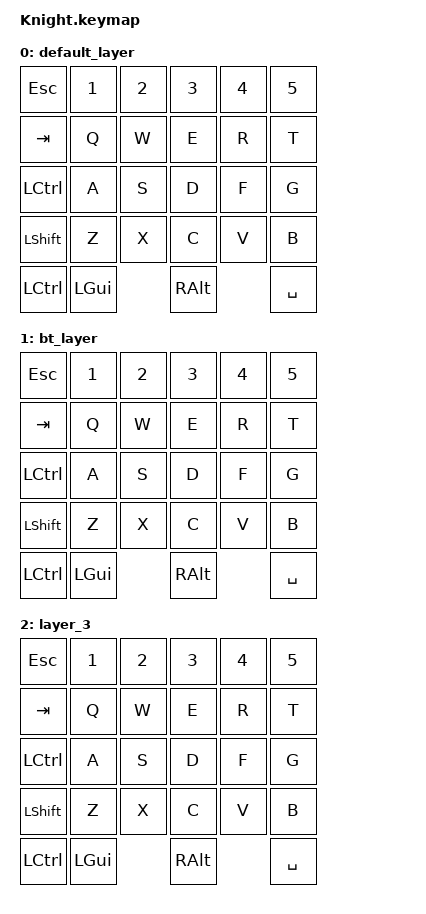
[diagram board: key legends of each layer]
#include <behaviors.dtsi>
#include <dt-bindings/zmk/keys.h>
#include <dt-bindings/zmk/bt.h>


/ {

  keymap {
        compatible = "zmk,keymap";

        default_layer {
            bindings = <
                &kp ESC    &kp N1 &kp N2 &kp N3    &kp N4 &kp N5 
                &kp TAB    &kp Q  &kp W  &kp E     &kp R  &kp T   
                &kp LCTRL  &kp A  &kp S  &kp D     &kp F  &kp G  
                &kp LSHFT  &kp Z  &kp X  &kp C     &kp V  &kp B 
                &kp LCTRL  &kp LGUI      &kp RALT         &kp SPACE  
            >;
        };

        bt_layer {
            bindings = <
                &kp ESC    &kp N1 &kp N2 &kp N3    &kp N4 &kp N5 
                &kp TAB    &kp Q  &kp W  &kp E     &kp R  &kp T   
                &kp LCTRL  &kp A  &kp S  &kp D     &kp F  &kp G  
                &kp LSHFT  &kp Z  &kp X  &kp C     &kp V  &kp B 
                &kp LCTRL  &kp LGUI      &kp RALT         &kp SPACE  
            >;
        };

        layer_3 {
            bindings = <
                &kp ESC    &kp N1 &kp N2 &kp N3    &kp N4 &kp N5 
                &kp TAB    &kp Q  &kp W  &kp E     &kp R  &kp T   
                &kp LCTRL  &kp A  &kp S  &kp D     &kp F  &kp G  
                &kp LSHFT  &kp Z  &kp X  &kp C     &kp V  &kp B 
                &kp LCTRL  &kp LGUI      &kp RALT         &kp SPACE  
            >;
        };
    };
};
